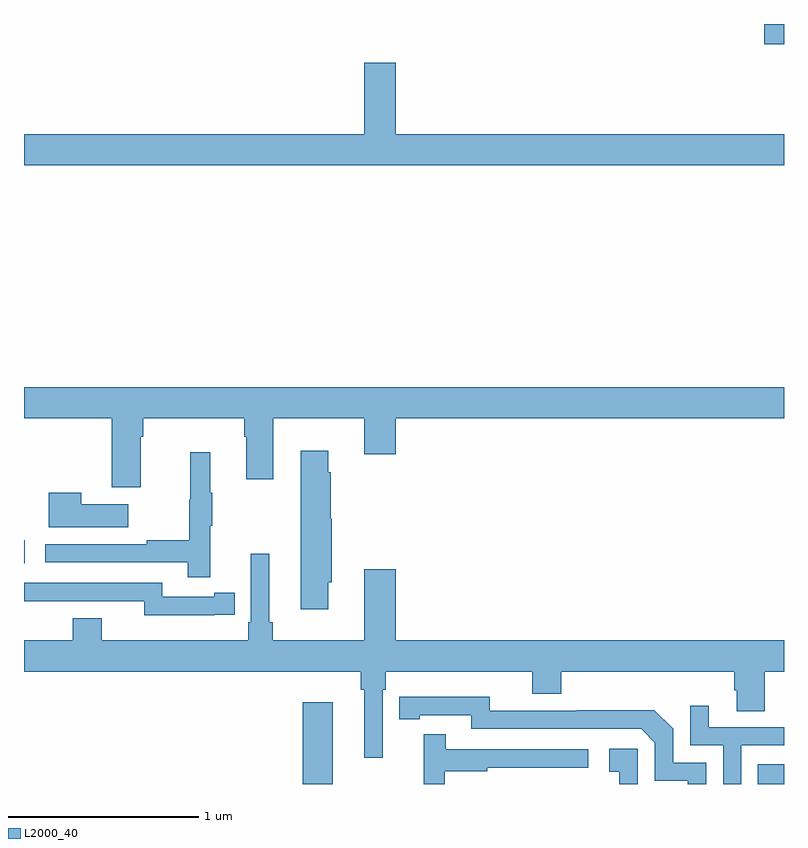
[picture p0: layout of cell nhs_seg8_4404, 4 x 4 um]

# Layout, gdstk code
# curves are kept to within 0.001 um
import gdstk
lib = gdstk.Library(unit=1e-6, precision=1e-09)
def R(c, l, rs):  # rectangles x0, y0, x1, y1
    for r in rs: c.add(gdstk.rectangle(r[:2], r[2:], *l))
def P(c, l, *ps):  # polygons
    for p in ps: c.add(gdstk.Polygon(p, *l))
L2000_40 = (2000, 40)

nhs_seg8_4404 = lib.new_cell('nhs_seg8_4404')
R(nhs_seg8_4404, L2000_40, [(380.468,1123.9,380.626,1124.329), (382.861,1123.9,383,1124.004), (379,1125.063,379.003,1125.183), (382.896,1127.794,383,1127.9)])
P(nhs_seg8_4404, L2000_40, [(383,1127.32),(380.956,1127.32),(380.956,1127.695),(380.792,1127.695),(380.792,1127.32),(379,1127.32),(379,1127.156),(383,1127.156)],
  [(379.615,1125.728),(379.628,1125.728),(379.628,1125.824),(380.159,1125.824),(380.159,1125.728),(380.171,1125.728),(380.171,1125.504),(380.311,1125.504),(380.311,1125.824),(380.792,1125.824),(380.792,1125.636),(380.956,1125.636),(380.956,1125.824),(383,1125.824),(383,1125.988),(379,1125.988),(379,1125.824),(379.463,1125.824),(379.463,1125.462),(379.615,1125.462)],
  [(380.602,1124.961),(380.62,1124.961),(380.62,1125.297),(380.615,1125.297),(380.615,1125.542),(380.602,1125.542),(380.602,1125.655),(380.456,1125.655),(380.456,1124.82),(380.602,1124.82)],
  [(379.979,1125.259),(379.99,1125.259),(379.99,1125.433),(379.979,1125.433),(379.979,1125.646),(379.876,1125.646),(379.876,1125.396),(379.869,1125.396),(379.869,1125.182),(379.645,1125.182),(379.645,1125.162),(379.113,1125.162),(379.113,1125.066),(379.861,1125.066),(379.861,1124.988),(379.979,1124.988)],
  [(379.549,1125.373),(379.301,1125.373),(379.301,1125.433),(379.13,1125.433),(379.13,1125.251),(379.549,1125.251)],
  [(380.889,1124.396),(380.903,1124.396),(380.903,1124.492),(381.674,1124.492),(381.674,1124.375),(381.827,1124.375),(381.827,1124.492),(382.739,1124.492),(382.739,1124.394),(382.751,1124.394),(382.751,1124.284),(382.899,1124.284),(382.899,1124.492),(383,1124.492),(383,1124.656),(380.956,1124.656),(380.956,1125.031),(380.792,1125.031),(380.792,1124.656),(380.309,1124.656),(380.309,1124.752),(380.29,1124.752),(380.29,1125.112),(380.193,1125.112),(380.193,1124.752),(380.18,1124.752),(380.18,1124.656),(379.408,1124.656),(379.408,1124.773),(379.256,1124.773),(379.256,1124.656),(379,1124.656),(379,1124.492),(380.773,1124.492),(380.773,1124.396),(380.792,1124.396),(380.792,1124.037),(380.889,1124.037)],
  [(380,1124.79),(380.108,1124.79),(380.108,1124.906),(380,1124.906),(380,1124.886),(379.728,1124.886),(379.728,1124.958),(379,1124.958),(379,1124.861),(379.172,1124.861),(379.172,1124.862),(379.632,1124.862),(379.632,1124.789),(380,1124.789)],
  [(382.59,1124.013),(382.416,1124.013),(382.416,1124.19),(382.318,1124.288),(381.91,1124.288),(381.91,1124.286),(381.45,1124.286),(381.45,1124.359),(380.974,1124.358),(380.974,1124.242),(381.082,1124.242),(381.082,1124.262),(381.354,1124.262),(381.354,1124.19),(382.248,1124.19),(382.32,1124.118),(382.32,1123.917),(382.493,1123.917),(382.493,1123.9),(382.59,1123.9)],
  [(382.776,1124.103),(383,1124.103),(383,1124.199),(382.603,1124.199),(382.603,1124.311),(382.506,1124.311),(382.506,1124.103),(382.68,1124.103),(382.68,1123.9),(382.776,1123.9)],
  [(381.214,1123.966),(381.437,1123.966),(381.437,1123.986),(381.97,1123.986),(381.97,1124.082),(381.221,1124.082),(381.221,1124.161),(381.104,1124.161),(381.104,1123.9),(381.214,1123.9)],
  [(382.23,1124.086),(382.08,1124.086),(382.08,1123.965),(382.133,1123.965),(382.133,1123.9),(382.23,1123.9)])

lib.write_gds('nhs_seg8_4404.gds')
